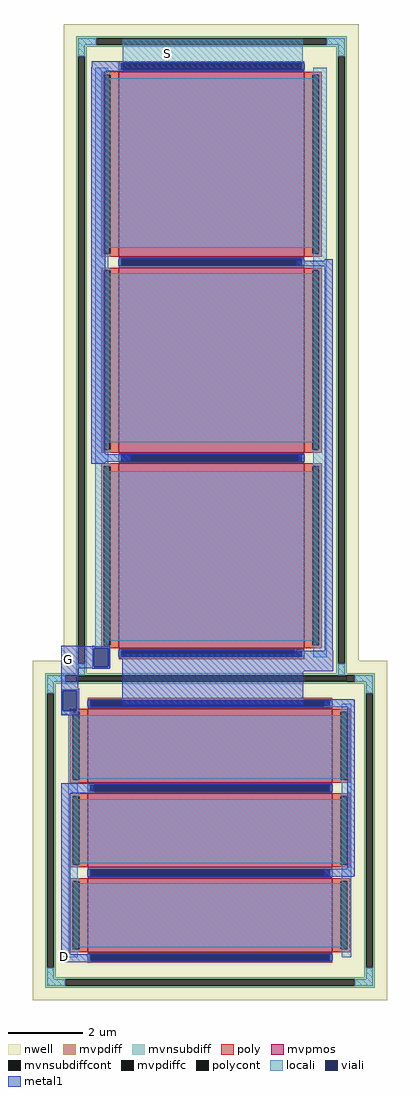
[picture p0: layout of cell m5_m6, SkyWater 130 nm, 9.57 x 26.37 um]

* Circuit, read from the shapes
.subckt m5_m6 D G S
XM1 n1 G D S sky130_fd_pr__pfet_g5v0d10v5 w=6.6 l=2 m=3
XM2 S G n1 S sky130_fd_pr__pfet_g5v0d10v5 w=5 l=5 m=3
.ends

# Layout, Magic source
magic
tech sky130A
magscale 1 2
<< nwell >>
rect 2794 10900 3996 11814
rect 2800 9848 4002 10762
rect 2790 8776 3992 9690
rect 2762 8627 2858 8749
<< locali >>
rect 2926 11872 3898 12022
rect 2776 11814 2848 11872
rect 3956 11814 4028 11872
rect 2776 10900 4028 11814
rect 2776 10762 2848 10900
rect 3956 10762 4028 10900
rect 2776 9848 4028 10762
rect 2776 9690 2848 9848
rect 3956 9690 4028 9848
rect 2776 8776 4028 9690
rect 2776 8749 2848 8776
rect 2762 8734 2858 8749
rect 2762 8636 2770 8734
rect 2848 8636 2858 8734
rect 3956 8686 4028 8776
rect 2762 8627 2858 8636
rect 2596 8504 2682 8514
rect 2596 8396 2602 8504
rect 2676 8396 2682 8504
rect 2596 8378 2682 8396
rect 2632 8374 2682 8378
rect 4110 8374 4160 8434
rect 2632 8030 4160 8374
rect 2632 7918 2682 8030
rect 4110 7918 4160 8030
rect 2632 7574 4160 7918
rect 2632 7466 2682 7574
rect 4110 7466 4160 7574
rect 2632 7118 4160 7466
rect 2632 7064 2682 7118
rect 4110 7064 4160 7118
<< viali >>
rect 2770 8636 2848 8734
rect 2602 8396 2676 8504
<< metal1 >>
rect 2758 11874 2928 11906
rect 2756 11852 2928 11874
rect 2756 9784 2830 11852
rect 4018 10830 4060 10836
rect 3864 10798 4060 10830
rect 2756 9742 2968 9784
rect 3874 9746 3892 9778
rect 2756 9732 2830 9742
rect 2592 8746 2686 8748
rect 2592 8734 2856 8746
rect 2592 8636 2770 8734
rect 2848 8636 2856 8734
rect 4018 8720 4060 10798
rect 3856 8706 4062 8720
rect 2592 8626 2856 8636
rect 2592 8518 2686 8626
rect 2762 8624 2856 8626
rect 2924 8610 4062 8706
rect 2592 8504 2690 8518
rect 2592 8396 2602 8504
rect 2676 8396 2690 8504
rect 2924 8430 3900 8610
rect 4014 8456 4170 8458
rect 4014 8416 4180 8456
rect 2592 8372 2690 8396
rect 2594 8002 2770 8004
rect 2592 7952 2770 8002
rect 2592 7080 2642 7952
rect 4140 7542 4180 8416
rect 4014 7502 4180 7542
rect 4014 7500 4170 7502
rect 2592 7058 2740 7080
rect 2592 7038 2752 7058
use sky130_fd_pr__pfet_g5v0d10v5_DB8A6Y  sky130_fd_pr__pfet_g5v0d10v5_DB8A6Y_0
transform 0 1 3405 -1 0 10292
box -1816 -797 1816 797
use sky130_fd_pr__pfet_g5v0d10v5_PUA7NM  sky130_fd_pr__pfet_g5v0d10v5_PUA7NM_0
transform 0 1 3397 -1 0 7750
box -916 -957 916 957
<< labels >>
flabel metal1 2630 8674 2630 8674 0 FreeSans 1600 0 0 0 G
flabel locali 3168 11948 3168 11948 0 FreeSans 1600 0 0 0 S
flabel metal1 2610 7068 2610 7068 0 FreeSans 1600 0 0 0 D
<< end >>

# cell sky130_fd_pr__pfet_g5v0d10v5_DB8A6Y: kit device sky130_fd_pr__pfet_g5v0d10v5, w 5 l 5 m 1 nf 3 diffcov 100 polycov 100 guard 1 glc 1 grc 1 gtc 1 gbc 1 tbcov 100 rlcov 100 topc 1 botc 1 poverlap 0 doverlap 1 lmin 0.50 wmin 0.42 class mosfet compatible {sky130_fd_pr__pfet_01v8 sky130_fd_pr__pfet_01v8_lvt sky130_fd_pr__pfet_01v8_hvt sky130_fd_pr__pfet_g5v0d10v5} full_metal 1 conn_gates 0 viasrc 100 viadrn 100 viagate 100 viagb 0 viagr 0 viagl 0 viagt 0 doports 1

# cell sky130_fd_pr__pfet_g5v0d10v5_PUA7NM: kit device sky130_fd_pr__pfet_g5v0d10v5, w 6.6 l 2 m 1 nf 3 diffcov 100 polycov 100 guard 1 glc 1 grc 1 gtc 1 gbc 1 tbcov 100 rlcov 100 topc 1 botc 1 poverlap 0 doverlap 1 lmin 0.50 wmin 0.42 class mosfet compatible {sky130_fd_pr__pfet_01v8 sky130_fd_pr__pfet_01v8_lvt sky130_fd_pr__pfet_01v8_hvt sky130_fd_pr__pfet_g5v0d10v5} full_metal 1 conn_gates 0 viasrc 100 viadrn 100 viagate 100 viagb 0 viagr 0 viagl 0 viagt 0 doports 1
